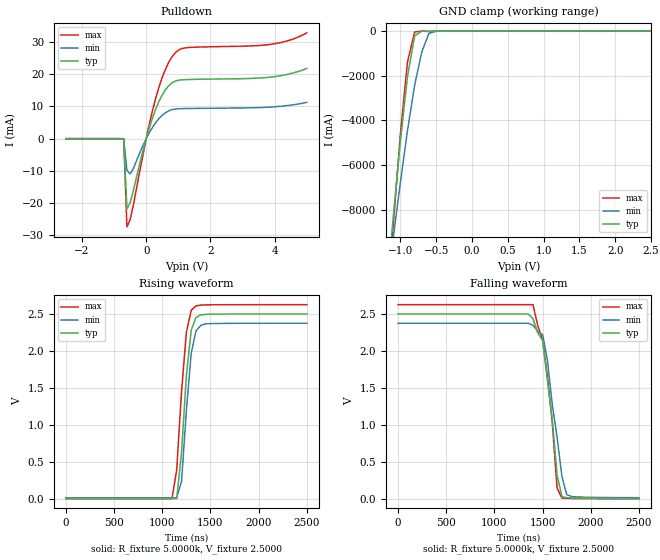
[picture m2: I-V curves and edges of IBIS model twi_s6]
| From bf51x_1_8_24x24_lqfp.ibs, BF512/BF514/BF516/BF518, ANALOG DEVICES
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[Model]   twi_s6
Model_type   I/O_open_drain
Polarity   Non-Inverting
Enable   Active-Low
Vinl =   0.7500V
Vinh =   1.7500V
Vmeas =   1.2500V
Cref =  50.0000pF
Rref =   5.0000k
Vref =   2.5000V
C_comp   7.1300pF   6.4200pF   7.8500pF
[Temperature Range]   25.0000   0.1250k   0.000
[Voltage Range]   2.5000V   2.3750V   2.6250V
[Pullup Reference]   2.5000V   2.3750V   2.6250V
[Pulldown Reference]   0.000V   0.000V   0.000V
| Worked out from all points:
|   slope of the pulldown table from 0 to 0.375 V, typ, clamps not added: 34 ohm
|   GND clamp passes 1 mA (typ) near -0.42 V on its own axis
|   rising waveform, R_fixture 5.0000k, V_fixture 2.5000: 20-80 % time 87.2ns typ, 82.8ns min, 84.3ns max; typ from 0.014 V to 2.5 V
|   falling waveform, R_fixture 5.0000k, V_fixture 2.5000: 20-80 % time 125ns typ, 137ns min, 123ns max; typ from 2.5 V to 0.014 V
[Pulldown]
| voltage   I(typ)   I(min)   I(max)
-2.5V     0A         0A         0A
-700mV    -33uA      0A         -71uA
-600mV    -21.78mA   -9.8mA     -27.33mA
-500mV    -19.93mA   -10.95mA   -25.1mA
-400mV    -16.1mA    -9.283mA   -20.59mA
0V        0A         0A         0A
300mV     9.264mA    5.026mA    12.7mA
600mV     15.16mA    8.034mA    21.53mA
900mV     17.83mA    9.177mA    26.56mA
1.3V      18.31mA    9.341mA    28.22mA
4V        19.22mA    9.872mA    29.41mA
5V        21.76mA    11.24mA    32.79mA
[GND_clamp]
| voltage   I(typ)   I(min)   I(max)
-2.5V     -61.62A    -46.7A     -74A
-1.2V     -11.99A    -11.86A    -13.19A
-1.1V     -8.386A    -9.302A    -8.788A
-1V       -4.95A     -6.808A    -4.648A
-900mV    -2.038A    -4.453A    -1.382A
-800mV    -218.6mA   -2.426A    -44.06mA
-700mV    -4.923mA   -929.4mA   -1.44mA
-600mV    -13.47mA   -102.3mA   -20.2mA
-500mV    -3.405mA   -11.16mA   -6.101mA
2.5V      816.3pA    18.91nA    1.167nA
[Ramp]
| variable   typ   min   max
dV/dt_r   1.4912/76.6380n   1.4102/79.2605n   1.5679/80.4898n
dV/dt_f   1.4921/0.1185u   1.4098/0.1314u   1.5687/0.1120u
R_load = 5.0000k
[Rising Waveform]
R_fixture = 5.0000k
V_fixture = 2.5000
V_fixture_min = 2.3750
V_fixture_max = 2.6250
L_fixture = 0.000H
C_fixture = 0.000F
| time   V(typ)   V(min)   V(max)
0s        13.69mV    23.6mV     10.77mV
1.1us     13.69mV    23.6mV     10.77mV
1.15us    13.69mV    23.6mV     400.7mV
1.2us     633.5mV    243.3mV    1.456V
1.25us    1.669V     1.192V     2.252V
1.3us     2.277V     1.966V     2.547V
1.35us    2.451V     2.272V     2.608V
1.4us     2.487V     2.345V     2.619V
1.45us    2.493V     2.366V     2.62V
2.5us     2.499V     2.374V     2.624V
[Falling Waveform]
R_fixture = 5.0000k
V_fixture = 2.5000
V_fixture_min = 2.3750
V_fixture_max = 2.6250
L_fixture = 0.000H
C_fixture = 0.000F
| time   V(typ)   V(min)   V(max)
0s        2.5V       2.374V     2.625V
1.4us     2.436V     2.349V     2.625V
1.5us     2.142V     2.223V     2.151V
1.55us    1.601V     1.877V     1.66V
1.6us     1.082V     1.282V     1.035V
1.65us    328.4mV    838.6mV    153.4mV
1.7us     39.07mV    311mV      19.41mV
1.75us    22.1mV     64.44mV    15.41mV
1.8us     19.93mV    39.83mV    13.27mV
2.5us     13.89mV    24.29mV    10.5mV
